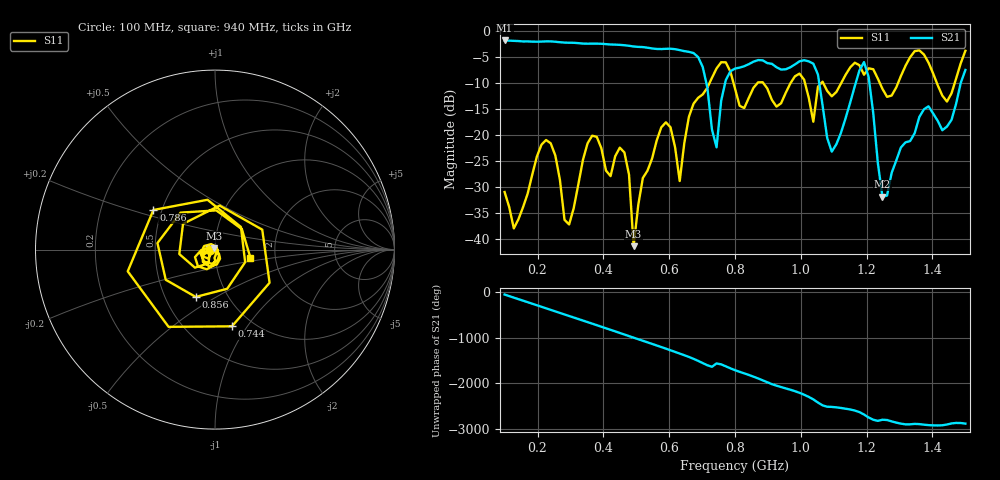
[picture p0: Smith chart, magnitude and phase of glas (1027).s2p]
! NanoVNA-App
! Date: 2025-09-25 16:03:28
! Start: 100MHz Stop: 1,5GHz Points: 101
! S-Parameter data: F S11 S21 S12 S22
# Hz S RI R 50
!  Frequency  S11_Real  S11_Imag  S21_Real  S21_Imag  S12_Real  S12_Imag  S22_Real  S22_Imag
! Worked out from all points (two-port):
!   101 points, 100 MHz to 1.5 GHz, reference 50 ohm
!   highest |S21| = -1.80 dB at 100 MHz (marker M1); lowest = -31.8 dB at 1.248 GHz (marker M2)
!   |S21| within 3 dB of the highest: start of sweep to 684.6 MHz
!   lowest |S11| = -41.3 dB at 492 MHz (marker M3), VSWR 1.02, Z = 49.4 + j0.646 ohm
!   |S11| at or under -10 dB: start of sweep to 722.5 MHz; 795.5 MHz to 868 MHz (72.44 MHz wide, 8.71 % of centre); 886.1 MHz to 968.7 MHz (82.65 MHz wide, 8.91 % of centre) (the widest 3 of 7)
!   S12 and S22 are empty: the file has one direction only
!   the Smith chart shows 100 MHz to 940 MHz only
!   S11 on the Smith chart (normalised r, x): 100 MHz: 0.94, -0.01; 744 MHz: 0.81, -0.85; 786 MHz: 0.45, +0.24; 856 MHz: 0.71, -0.41; 940 MHz: 1.48, -0.14
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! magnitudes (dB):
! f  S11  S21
! 100 MHz  -30.9  -1.8
! 128 MHz  -37.9  -1.9
! 226 MHz  -20.9  -2.0
! 296 MHz  -37.1  -2.2
! 338 MHz  -24.7  -2.4
! 464 MHz  -23.3  -2.7
! 492 MHz  -41.3  -3.0
! 576 MHz  -18.5  -3.5
! 632 MHz  -28.8  -3.7
! 702 MHz  -12.2  -6.9
! 744 MHz  -7.2  -22.3
! 786 MHz  -7.8  -7.7
! 800 MHz  -11.0  -7.2
! 856 MHz  -10.9  -5.9
! 940 MHz  -13.9  -7.4
! 996 MHz  -8.2  -5.8
! 1.038 GHz  -17.4  -6.3
! 1.094 GHz  -12.5  -23.2
! 1.192 GHz  -8.4  -6.0
! 1.248 GHz  -11.1  -31.8
! 1.276 GHz  -12.4  -27.2
! 1.5 GHz  -3.8  -7.5
